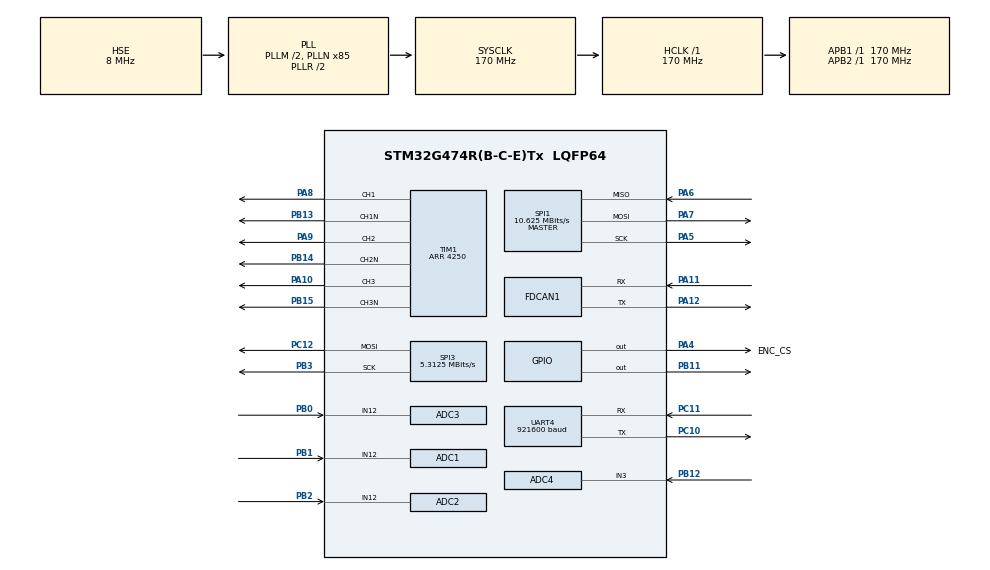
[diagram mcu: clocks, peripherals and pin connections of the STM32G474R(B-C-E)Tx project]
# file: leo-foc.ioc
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ADC1.Channel-1\#ChannelRegularConversion=ADC_CHANNEL_12
ADC1.ContinuousConvMode=DISABLE
ADC1.DMAContinuousRequests=ENABLE
ADC1.ExternalTrigConv=ADC_EXTERNALTRIG_T1_TRGO2
ADC1.NbrOfConversionFlag=1
ADC1.OffsetNumber-1\#ChannelRegularConversion=ADC_OFFSET_NONE
ADC1.Rank-1\#ChannelRegularConversion=1
ADC1.SamplingTime-1\#ChannelRegularConversion=ADC_SAMPLETIME_24CYCLES_5
ADC1.master=1
ADC2.Channel-2\#ChannelRegularConversion=ADC_CHANNEL_12
ADC2.ContinuousConvMode=DISABLE
ADC2.DMAContinuousRequests=ENABLE
ADC2.ExternalTrigConv=ADC_EXTERNALTRIG_T1_TRGO2
ADC2.NbrOfConversionFlag=1
ADC2.OffsetNumber-2\#ChannelRegularConversion=ADC_OFFSET_NONE
ADC2.Rank-2\#ChannelRegularConversion=1
ADC2.SamplingTime-2\#ChannelRegularConversion=ADC_SAMPLETIME_24CYCLES_5
ADC3.Channel-2\#ChannelRegularConversion=ADC_CHANNEL_12
ADC3.ContinuousConvMode=DISABLE
ADC3.DMAContinuousRequests=ENABLE
ADC3.ExternalTrigConv=ADC_EXTERNALTRIG_T1_TRGO2
ADC3.NbrOfConversionFlag=1
ADC3.OffsetNumber-2\#ChannelRegularConversion=ADC_OFFSET_NONE
ADC3.Rank-2\#ChannelRegularConversion=1
ADC3.SamplingTime-2\#ChannelRegularConversion=ADC_SAMPLETIME_24CYCLES_5
ADC3.master=1
ADC4.Channel-0\#ChannelRegularConversion=ADC_CHANNEL_3
ADC4.ContinuousConvMode=DISABLE
ADC4.DMAContinuousRequests=ENABLE
ADC4.ExternalTrigConv=ADC_EXTERNALTRIG_T1_TRGO2
ADC4.NbrOfConversionFlag=1
ADC4.OffsetNumber-0\#ChannelRegularConversion=ADC_OFFSET_NONE
ADC4.Rank-0\#ChannelRegularConversion=1
ADC4.SamplingTime-0\#ChannelRegularConversion=ADC_SAMPLETIME_24CYCLES_5
Dma.ADC1.3.Direction=DMA_PERIPH_TO_MEMORY
Dma.ADC1.3.EventEnable=DISABLE
Dma.ADC1.3.Instance=DMA1_Channel4
Dma.ADC1.3.MemDataAlignment=DMA_MDATAALIGN_HALFWORD
Dma.ADC1.3.MemInc=DMA_MINC_DISABLE
Dma.ADC1.3.Mode=DMA_CIRCULAR
Dma.ADC1.3.PeriphDataAlignment=DMA_PDATAALIGN_HALFWORD
Dma.ADC1.3.PeriphInc=DMA_PINC_DISABLE
Dma.ADC1.3.Polarity=HAL_DMAMUX_REQ_GEN_RISING
Dma.ADC1.3.Priority=DMA_PRIORITY_LOW
Dma.ADC1.3.RequestNumber=1
Dma.ADC1.3.SignalID=NONE
Dma.ADC1.3.SyncEnable=DISABLE
Dma.ADC1.3.SyncPolarity=HAL_DMAMUX_SYNC_NO_EVENT
Dma.ADC1.3.SyncRequestNumber=1
Dma.ADC1.3.SyncSignalID=NONE
Dma.ADC2.4.Direction=DMA_PERIPH_TO_MEMORY
Dma.ADC2.4.EventEnable=DISABLE
Dma.ADC2.4.Instance=DMA1_Channel5
Dma.ADC2.4.MemDataAlignment=DMA_MDATAALIGN_HALFWORD
Dma.ADC2.4.MemInc=DMA_MINC_DISABLE
Dma.ADC2.4.Mode=DMA_CIRCULAR
Dma.ADC2.4.PeriphDataAlignment=DMA_PDATAALIGN_HALFWORD
Dma.ADC2.4.PeriphInc=DMA_PINC_DISABLE
Dma.ADC2.4.Polarity=HAL_DMAMUX_REQ_GEN_RISING
Dma.ADC2.4.Priority=DMA_PRIORITY_LOW
Dma.ADC2.4.RequestNumber=1
Dma.ADC2.4.SignalID=NONE
Dma.ADC2.4.SyncEnable=DISABLE
Dma.ADC2.4.SyncPolarity=HAL_DMAMUX_SYNC_NO_EVENT
Dma.ADC2.4.SyncRequestNumber=1
Dma.ADC2.4.SyncSignalID=NONE
Dma.ADC3.5.Direction=DMA_PERIPH_TO_MEMORY
Dma.ADC3.5.EventEnable=DISABLE
Dma.ADC3.5.Instance=DMA1_Channel6
Dma.ADC3.5.MemDataAlignment=DMA_MDATAALIGN_HALFWORD
Dma.ADC3.5.MemInc=DMA_MINC_DISABLE
Dma.ADC3.5.Mode=DMA_CIRCULAR
Dma.ADC3.5.PeriphDataAlignment=DMA_PDATAALIGN_HALFWORD
Dma.ADC3.5.PeriphInc=DMA_PINC_DISABLE
Dma.ADC3.5.Polarity=HAL_DMAMUX_REQ_GEN_RISING
Dma.ADC3.5.Priority=DMA_PRIORITY_LOW
Dma.ADC3.5.RequestNumber=1
Dma.ADC3.5.SignalID=NONE
Dma.ADC3.5.SyncEnable=DISABLE
Dma.ADC3.5.SyncPolarity=HAL_DMAMUX_SYNC_NO_EVENT
Dma.ADC3.5.SyncRequestNumber=1
Dma.ADC3.5.SyncSignalID=NONE
Dma.ADC4.1.Direction=DMA_PERIPH_TO_MEMORY
Dma.ADC4.1.EventEnable=DISABLE
Dma.ADC4.1.Instance=DMA1_Channel2
Dma.ADC4.1.MemDataAlignment=DMA_MDATAALIGN_HALFWORD
Dma.ADC4.1.MemInc=DMA_MINC_DISABLE
Dma.ADC4.1.Mode=DMA_CIRCULAR
Dma.ADC4.1.PeriphDataAlignment=DMA_PDATAALIGN_HALFWORD
Dma.ADC4.1.PeriphInc=DMA_PINC_DISABLE
Dma.ADC4.1.Polarity=HAL_DMAMUX_REQ_GEN_RISING
Dma.ADC4.1.Priority=DMA_PRIORITY_LOW
Dma.ADC4.1.RequestNumber=1
Dma.ADC4.1.SignalID=NONE
Dma.ADC4.1.SyncEnable=DISABLE
Dma.ADC4.1.SyncPolarity=HAL_DMAMUX_SYNC_NO_EVENT
Dma.ADC4.1.SyncRequestNumber=1
Dma.ADC4.1.SyncSignalID=NONE
Dma.Request0=UART4_TX
Dma.Request1=ADC4
Dma.Request2=SPI3_TX
Dma.Request3=ADC1
Dma.Request4=ADC2
Dma.Request5=ADC3
Dma.Request6=SPI1_TX
Dma.Request7=SPI1_RX
Dma.Request8=UART4_RX
Dma.SPI1_RX.7.Direction=DMA_PERIPH_TO_MEMORY
Dma.SPI1_RX.7.EventEnable=DISABLE
Dma.SPI1_RX.7.Instance=DMA1_Channel8
Dma.SPI1_RX.7.MemDataAlignment=DMA_MDATAALIGN_BYTE
Dma.SPI1_RX.7.MemInc=DMA_MINC_ENABLE
Dma.SPI1_RX.7.Mode=DMA_CIRCULAR
Dma.SPI1_RX.7.PeriphDataAlignment=DMA_PDATAALIGN_BYTE
Dma.SPI1_RX.7.PeriphInc=DMA_PINC_DISABLE
Dma.SPI1_RX.7.Polarity=HAL_DMAMUX_REQ_GEN_RISING
Dma.SPI1_RX.7.Priority=DMA_PRIORITY_VERY_HIGH
Dma.SPI1_RX.7.RequestNumber=1
Dma.SPI1_RX.7.SignalID=NONE
Dma.SPI1_RX.7.SyncEnable=DISABLE
Dma.SPI1_RX.7.SyncPolarity=HAL_DMAMUX_SYNC_NO_EVENT
Dma.SPI1_RX.7.SyncRequestNumber=1
Dma.SPI1_RX.7.SyncSignalID=NONE
Dma.SPI1_TX.6.Direction=DMA_MEMORY_TO_PERIPH
Dma.SPI1_TX.6.EventEnable=DISABLE
Dma.SPI1_TX.6.Instance=DMA1_Channel7
Dma.SPI1_TX.6.MemDataAlignment=DMA_MDATAALIGN_BYTE
Dma.SPI1_TX.6.MemInc=DMA_MINC_ENABLE
Dma.SPI1_TX.6.Mode=DMA_NORMAL
Dma.SPI1_TX.6.PeriphDataAlignment=DMA_PDATAALIGN_BYTE
Dma.SPI1_TX.6.PeriphInc=DMA_PINC_DISABLE
Dma.SPI1_TX.6.Polarity=HAL_DMAMUX_REQ_GEN_RISING
Dma.SPI1_TX.6.Priority=DMA_PRIORITY_HIGH
Dma.SPI1_TX.6.RequestNumber=1
Dma.SPI1_TX.6.SignalID=NONE
Dma.SPI1_TX.6.SyncEnable=DISABLE
Dma.SPI1_TX.6.SyncPolarity=HAL_DMAMUX_SYNC_NO_EVENT
Dma.SPI1_TX.6.SyncRequestNumber=1
Dma.SPI1_TX.6.SyncSignalID=NONE
Dma.SPI3_TX.2.Direction=DMA_MEMORY_TO_PERIPH
Dma.SPI3_TX.2.EventEnable=DISABLE
Dma.SPI3_TX.2.Instance=DMA1_Channel3
Dma.SPI3_TX.2.MemDataAlignment=DMA_MDATAALIGN_BYTE
Dma.SPI3_TX.2.MemInc=DMA_MINC_ENABLE
Dma.SPI3_TX.2.Mode=DMA_NORMAL
Dma.SPI3_TX.2.PeriphDataAlignment=DMA_PDATAALIGN_BYTE
Dma.SPI3_TX.2.PeriphInc=DMA_PINC_DISABLE
Dma.SPI3_TX.2.Polarity=HAL_DMAMUX_REQ_GEN_RISING
Dma.SPI3_TX.2.Priority=DMA_PRIORITY_LOW
Dma.SPI3_TX.2.RequestNumber=1
Dma.SPI3_TX.2.SignalID=NONE
Dma.SPI3_TX.2.SyncEnable=DISABLE
Dma.SPI3_TX.2.SyncPolarity=HAL_DMAMUX_SYNC_NO_EVENT
Dma.SPI3_TX.2.SyncRequestNumber=1
Dma.SPI3_TX.2.SyncSignalID=NONE
Dma.UART4_RX.8.Direction=DMA_PERIPH_TO_MEMORY
Dma.UART4_RX.8.EventEnable=DISABLE
Dma.UART4_RX.8.Instance=DMA2_Channel1
Dma.UART4_RX.8.MemDataAlignment=DMA_MDATAALIGN_BYTE
Dma.UART4_RX.8.MemInc=DMA_MINC_ENABLE
Dma.UART4_RX.8.Mode=DMA_NORMAL
Dma.UART4_RX.8.PeriphDataAlignment=DMA_PDATAALIGN_BYTE
Dma.UART4_RX.8.PeriphInc=DMA_PINC_DISABLE
Dma.UART4_RX.8.Polarity=HAL_DMAMUX_REQ_GEN_RISING
Dma.UART4_RX.8.Priority=DMA_PRIORITY_LOW
Dma.UART4_RX.8.RequestNumber=1
Dma.UART4_RX.8.SignalID=NONE
Dma.UART4_RX.8.SyncEnable=DISABLE
Dma.UART4_RX.8.SyncPolarity=HAL_DMAMUX_SYNC_NO_EVENT
Dma.UART4_RX.8.SyncRequestNumber=1
Dma.UART4_RX.8.SyncSignalID=NONE
Dma.UART4_TX.0.Direction=DMA_MEMORY_TO_PERIPH
Dma.UART4_TX.0.EventEnable=DISABLE
Dma.UART4_TX.0.Instance=DMA1_Channel1
Dma.UART4_TX.0.MemDataAlignment=DMA_MDATAALIGN_BYTE
Dma.UART4_TX.0.MemInc=DMA_MINC_ENABLE
Dma.UART4_TX.0.Mode=DMA_NORMAL
Dma.UART4_TX.0.PeriphDataAlignment=DMA_PDATAALIGN_BYTE
Dma.UART4_TX.0.PeriphInc=DMA_PINC_DISABLE
Dma.UART4_TX.0.Polarity=HAL_DMAMUX_REQ_GEN_RISING
Dma.UART4_TX.0.Priority=DMA_PRIORITY_LOW
Dma.UART4_TX.0.RequestNumber=1
Dma.UART4_TX.0.SignalID=NONE
Dma.UART4_TX.0.SyncEnable=DISABLE
Dma.UART4_TX.0.SyncPolarity=HAL_DMAMUX_SYNC_NO_EVENT
Dma.UART4_TX.0.SyncRequestNumber=1
Dma.UART4_TX.0.SyncSignalID=NONE
FDCAN1.CalculateBaudRateNominal=3541666
FDCAN1.CalculateTimeBitNominal=282
FDCAN1.CalculateTimeQuantumNominal=94.11764705882354
Mcu.Family=STM32G4
Mcu.Name=STM32G474R(B-C-E)Tx
Mcu.Package=LQFP64
NVIC.ADC1_2_IRQn=true\:0\:0\:false\:false\:true\:true\:true\:true
NVIC.ADC3_IRQn=true\:0\:0\:false\:false\:true\:true\:true\:true
NVIC.ADC4_IRQn=true\:5\:0\:true\:false\:true\:true\:true\:true
NVIC.DMA1_Channel1_IRQn=true\:5\:0\:true\:false\:true\:false\:true\:true
NVIC.DMA1_Channel2_IRQn=true\:0\:0\:true\:false\:true\:false\:true\:true
NVIC.DMA1_Channel3_IRQn=true\:5\:0\:true\:false\:true\:false\:true\:true
NVIC.DMA1_Channel4_IRQn=true\:0\:0\:false\:false\:true\:false\:true\:true
NVIC.DMA1_Channel5_IRQn=true\:0\:0\:false\:false\:true\:false\:true\:true
NVIC.DMA1_Channel6_IRQn=true\:0\:0\:false\:false\:true\:false\:true\:true
NVIC.DMA1_Channel7_IRQn=true\:1\:0\:true\:false\:true\:false\:true\:true
NVIC.DMA1_Channel8_IRQn=true\:1\:0\:true\:false\:true\:false\:true\:true
NVIC.DMA2_Channel1_IRQn=true\:5\:0\:true\:false\:true\:false\:true\:true
NVIC.PriorityGroup=NVIC_PRIORITYGROUP_4
NVIC.TIM1_UP_TIM16_IRQn=true\:0\:0\:true\:false\:true\:true\:true\:true
NVIC.TIM6_DAC_IRQn=true\:5\:0\:true\:false\:true\:true\:true\:true
NVIC.UART4_IRQn=true\:6\:0\:true\:false\:true\:true\:true\:true
PA10.Signal=S_TIM1_CH3
PA11.Mode=FDCAN_Activate
PA11.Signal=FDCAN1_RX
PA12.Mode=FDCAN_Activate
PA12.Signal=FDCAN1_TX
PA13.Mode=Serial_Wire
PA13.Signal=SYS_JTMS-SWDIO
PA14.Mode=Serial_Wire
PA14.Signal=SYS_JTCK-SWCLK
PA4.GPIO_Label=ENC_CS
PA4.GPIO_Speed=GPIO_SPEED_FREQ_HIGH
PA4.PinState=GPIO_PIN_SET
PA4.Signal=GPIO_Output
PA5.GPIO_Speed=GPIO_SPEED_FREQ_VERY_HIGH
PA5.Mode=Full_Duplex_Master
PA5.Signal=SPI1_SCK
PA6.GPIO_Speed=GPIO_SPEED_FREQ_VERY_HIGH
PA6.Mode=Full_Duplex_Master
PA6.Signal=SPI1_MISO
PA7.GPIO_Speed=GPIO_SPEED_FREQ_VERY_HIGH
PA7.Mode=Full_Duplex_Master
PA7.Signal=SPI1_MOSI
PA8.Signal=S_TIM1_CH1
PA9.Signal=S_TIM1_CH2
PB0.Mode=IN12-Single-Ended
PB0.Signal=ADC3_IN12
PB1.Mode=IN12-Single-Ended
PB1.Signal=ADC1_IN12
PB11.Signal=GPIO_Output
PB12.Mode=IN3-Single-Ended
PB12.Signal=ADC4_IN3
PB13.Mode=PWM Generation1 CH1 CH1N
PB13.Signal=TIM1_CH1N
PB14.Mode=PWM Generation2 CH2 CH2N
PB14.Signal=TIM1_CH2N
PB15.Mode=PWM Generation3 CH3 CH3N
PB15.Signal=TIM1_CH3N
PB2.Mode=IN12-Single-Ended
PB2.Signal=ADC2_IN12
PB3.Mode=TX_Only_Simplex_Unidirect_Master
PB3.Signal=SPI3_SCK
PC10.Mode=Asynchronous
PC10.Signal=UART4_TX
PC11.Mode=Asynchronous
PC11.Signal=UART4_RX
PC12.GPIO_Speed=GPIO_SPEED_FREQ_HIGH
PC12.Mode=TX_Only_Simplex_Unidirect_Master
PC12.Signal=SPI3_MOSI
PF0-OSC_IN.Mode=HSE-External-Oscillator
PF0-OSC_IN.Signal=RCC_OSC_IN
PF1-OSC_OUT.Mode=HSE-External-Oscillator
PF1-OSC_OUT.Signal=RCC_OSC_OUT
ProjectManager.HeapSize=0x200
ProjectManager.StackSize=0x400
ProjectManager.TargetToolchain=CMake
RCC.ADC12Freq_Value=170000000
RCC.ADC345Freq_Value=170000000
RCC.AHBFreq_Value=170000000
RCC.APB1Freq_Value=170000000
RCC.APB1TimFreq_Value=170000000
RCC.APB2Freq_Value=170000000
RCC.APB2TimFreq_Value=170000000
RCC.CortexFreq_Value=170000000
RCC.EXTERNAL_CLOCK_VALUE=12288000
RCC.HCLKFreq_Value=170000000
RCC.HSE_VALUE=8000000
RCC.HSI48_VALUE=48000000
RCC.HSI_VALUE=16000000
RCC.LSE_VALUE=32768
RCC.PLLM=RCC_PLLM_DIV2
RCC.PLLN=85
RCC.PLLSourceVirtual=RCC_PLLSOURCE_HSE
RCC.SYSCLKFreq_VALUE=170000000
RCC.SYSCLKSource=RCC_SYSCLKSOURCE_PLLCLK
RCC.USBFreq_Value=170000000
RCC.VCOOutputFreq_Value=340000000
SH.S_TIM1_CH1.0=TIM1_CH1,PWM Generation1 CH1 CH1N
SH.S_TIM1_CH2.0=TIM1_CH2,PWM Generation2 CH2 CH2N
SH.S_TIM1_CH3.0=TIM1_CH3,PWM Generation3 CH3 CH3N
SPI1.BaudRatePrescaler=SPI_BAUDRATEPRESCALER_16
SPI1.CLKPhase=SPI_PHASE_2EDGE
SPI1.CLKPolarity=SPI_POLARITY_HIGH
SPI1.CalculateBaudRate=10.625 MBits/s
SPI1.DataSize=SPI_DATASIZE_8BIT
SPI1.Direction=SPI_DIRECTION_2LINES
SPI1.Mode=SPI_MODE_MASTER
SPI1.VirtualType=VM_MASTER
SPI3.BaudRatePrescaler=SPI_BAUDRATEPRESCALER_32
SPI3.CalculateBaudRate=5.3125 MBits/s
SPI3.DataSize=SPI_DATASIZE_8BIT
SPI3.Direction=SPI_DIRECTION_2LINES
SPI3.Mode=SPI_MODE_MASTER
SPI3.NSSPMode=SPI_NSS_PULSE_DISABLE
SPI3.VirtualType=VM_MASTER
TIM1.Channel-PWM\ Generation1\ CH1\ CH1N=TIM_CHANNEL_1
TIM1.Channel-PWM\ Generation2\ CH2\ CH2N=TIM_CHANNEL_2
TIM1.Channel-PWM\ Generation3\ CH3\ CH3N=TIM_CHANNEL_3
TIM1.Channel-PWM\ Generation4\ No\ Output=TIM_CHANNEL_4
TIM1.CounterMode=TIM_COUNTERMODE_CENTERALIGNED1
TIM1.DeadTime=85
TIM1.PeriodNoDither=4250
TIM1.PulseNoDither_1=2125
TIM1.PulseNoDither_2=2125
TIM1.PulseNoDither_3=2125
TIM1.PulseNoDither_4=4000
TIM1.RepetitionCounter=1
TIM1.TIM_MasterOutputTrigger2=TIM_TRGO2_OC4REF
TIM6.PeriodNoDither=999
TIM6.Prescaler=169
TIM6.TIM_MasterOutputTrigger=TIM_TRGO_RESET
UART4.BaudRate=921600
VP_SYS_VS_DBSignals.Mode=DisableDeadBatterySignals
VP_TIM1_VS_no_output4.Mode=PWM Generation4 No Output
VP_TIM6_VS_ClockSourceINT.Mode=Enable_Timer
board=custom

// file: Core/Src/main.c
/* USER CODE BEGIN Header */
/**
  ******************************************************************************
  * @file           : main.c
  * @brief          : Main program body
  ******************************************************************************
  * @attention
  *
  * Copyright (c) 2026 STMicroelectronics.
  * All rights reserved.
  *
  * This software is licensed under terms that can be found in the LICENSE file
  * in the root directory of this software component.
  * If no LICENSE file comes with this software, it is provided AS-IS.
  *
  ******************************************************************************
  */
/* USER CODE END Header */
#include "main.h"
#include "adc.h"
#include "dma.h"
#include "fdcan.h"
#include "spi.h"
#include "tim.h"
#include "usart.h"
#include "gpio.h"

/* USER CODE BEGIN Includes */
#include <application.h>

#include "command.h"
/* USER CODE END Includes */

void SystemClock_Config(void);

int main(void)
{

  /* MCU Configuration--------------------------------------------------------*/

  /* Reset of all peripherals, Initializes the Flash interface and the Systick. */
  HAL_Init();

  /* Configure the system clock */
  SystemClock_Config();

  /* Initialize all configured peripherals */
  MX_GPIO_Init();
  MX_DMA_Init();
  MX_ADC1_Init();
  MX_FDCAN1_Init();
  MX_SPI1_Init();
  MX_SPI3_Init();
  MX_TIM1_Init();
  MX_UART4_Init();
  MX_ADC2_Init();
  MX_ADC3_Init();
  MX_TIM6_Init();
  MX_ADC4_Init();
  /* USER CODE BEGIN 2 */

  /* ADC settings */
  // calib ADC first:
  HAL_ADCEx_Calibration_Start(&hadc4, ADC_SINGLE_ENDED);
  // start ADC dma for bus voltage:
  HAL_ADC_Start_DMA(&hadc4, (uint32_t *)&DMAADCBusVoltage, 1); // there is only one data need transfer
  // disable dma for bus voltage half/full interrupt interrupt:
  __HAL_DMA_DISABLE_IT(hadc4.DMA_Handle, DMA_IT_TC | DMA_IT_HT);

  // enable all three sampliing ADCs
  HAL_ADCEx_Calibration_Start(&hadc1, ADC_SINGLE_ENDED);
  HAL_ADCEx_Calibration_Start(&hadc2, ADC_SINGLE_ENDED);
  HAL_ADCEx_Calibration_Start(&hadc3, ADC_SINGLE_ENDED);
  // disable not necessary DMA interrupts:
  // enable all dma for adcs
  HAL_ADC_Start_DMA(&hadc1, (uint32_t *)&PhaseCurrent[0], 1); // V
  __HAL_DMA_DISABLE_IT(hadc1.DMA_Handle, DMA_IT_TC | DMA_IT_HT);
  HAL_ADC_Start_DMA(&hadc2, (uint32_t *)&PhaseCurrent[1], 1); // W
  __HAL_DMA_DISABLE_IT(hadc2.DMA_Handle, DMA_IT_TC | DMA_IT_HT);
  HAL_ADC_Start_DMA(&hadc3, (uint32_t *)&PhaseCurrent[2], 1); // U
  __HAL_DMA_DISABLE_IT(hadc3.DMA_Handle, DMA_IT_TC | DMA_IT_HT);

  DisableFOC = 1; // don't do anything about applying current during setting stage

  // start for PWM 1 now:
  HAL_TIM_Base_Start_IT(&htim1);
  // start PWM for all three:
  EnableFOCStepSignal = 1;
  HAL_TIM_PWM_Start(&htim1, TIM_CHANNEL_1);
  HAL_TIMEx_PWMN_Start(&htim1, TIM_CHANNEL_1);
  HAL_TIM_PWM_Start(&htim1, TIM_CHANNEL_2);
  HAL_TIMEx_PWMN_Start(&htim1, TIM_CHANNEL_2);
  HAL_TIM_PWM_Start(&htim1, TIM_CHANNEL_3);
  HAL_TIMEx_PWMN_Start(&htim1, TIM_CHANNEL_3);

  Init();

  /* USER CODE END 2 */

  /* Infinite loop */
  /* USER CODE BEGIN WHILE */
  while (1)
  {
    ParsingCommand(ReceivedCommandBuffer);
    /* USER CODE END WHILE */

  }
}

void SystemClock_Config(void)
{
  RCC_OscInitTypeDef RCC_OscInitStruct = {0};
  RCC_ClkInitTypeDef RCC_ClkInitStruct = {0};

  /** Configure the main internal regulator output voltage
  */
  HAL_PWREx_ControlVoltageScaling(PWR_REGULATOR_VOLTAGE_SCALE1_BOOST);

  /** Initializes the RCC Oscillators according to the specified parameters
  * in the RCC_OscInitTypeDef structure.
  */
  RCC_OscInitStruct.OscillatorType = RCC_OSCILLATORTYPE_HSE;
  RCC_OscInitStruct.HSEState = RCC_HSE_ON;
  RCC_OscInitStruct.PLL.PLLState = RCC_PLL_ON;
  RCC_OscInitStruct.PLL.PLLSource = RCC_PLLSOURCE_HSE;
  RCC_OscInitStruct.PLL.PLLM = RCC_PLLM_DIV2;
  RCC_OscInitStruct.PLL.PLLN = 85;
  RCC_OscInitStruct.PLL.PLLP = RCC_PLLP_DIV2;
  RCC_OscInitStruct.PLL.PLLQ = RCC_PLLQ_DIV2;
  RCC_OscInitStruct.PLL.PLLR = RCC_PLLR_DIV2;
  if (HAL_RCC_OscConfig(&RCC_OscInitStruct) != HAL_OK)
  {
    Error_Handler();
  }

  /** Initializes the CPU, AHB and APB buses clocks
  */
  RCC_ClkInitStruct.ClockType = RCC_CLOCKTYPE_HCLK|RCC_CLOCKTYPE_SYSCLK
                              |RCC_CLOCKTYPE_PCLK1|RCC_CLOCKTYPE_PCLK2;
  RCC_ClkInitStruct.SYSCLKSource = RCC_SYSCLKSOURCE_PLLCLK;
  RCC_ClkInitStruct.AHBCLKDivider = RCC_SYSCLK_DIV1;
  RCC_ClkInitStruct.APB1CLKDivider = RCC_HCLK_DIV1;
  RCC_ClkInitStruct.APB2CLKDivider = RCC_HCLK_DIV1;

  if (HAL_RCC_ClockConfig(&RCC_ClkInitStruct, FLASH_LATENCY_4) != HAL_OK)
  {
    Error_Handler();
  }
}

void Error_Handler(void)
{
  __disable_irq();
  while (1)
  {
  }
}
